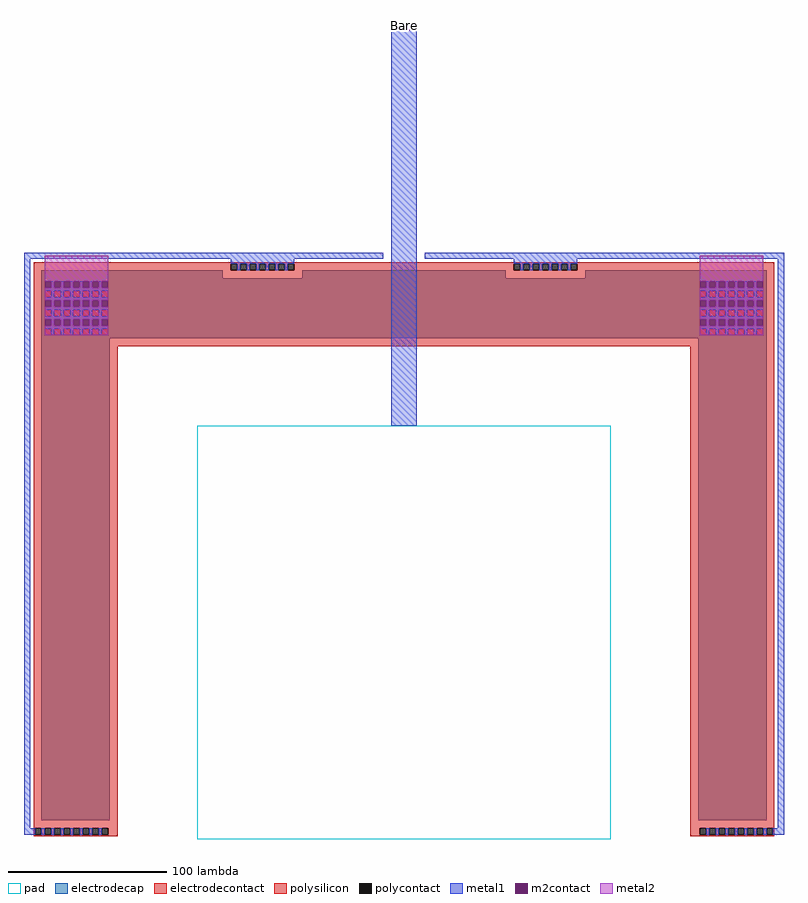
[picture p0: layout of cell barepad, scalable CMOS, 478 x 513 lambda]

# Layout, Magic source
magic
tech scmos
<< electrodecontact >>
rect 11 341 15 345
rect 17 341 21 345
rect 23 341 27 345
rect 29 341 33 345
rect 35 341 39 345
rect 41 341 45 345
rect 47 341 51 345
rect 11 329 15 333
rect 17 329 21 333
rect 23 329 27 333
rect 29 329 33 333
rect 35 329 39 333
rect 41 329 45 333
rect 47 329 51 333
rect 11 317 15 321
rect 17 317 21 321
rect 23 317 27 321
rect 29 317 33 321
rect 35 317 39 321
rect 41 317 45 321
rect 47 317 51 321
rect 423 341 427 345
rect 429 341 433 345
rect 435 341 439 345
rect 441 341 445 345
rect 447 341 451 345
rect 453 341 457 345
rect 459 341 463 345
rect 423 329 427 333
rect 429 329 433 333
rect 435 329 439 333
rect 441 329 445 333
rect 447 329 451 333
rect 453 329 457 333
rect 459 329 463 333
rect 423 317 427 321
rect 429 317 433 321
rect 435 317 439 321
rect 441 317 445 321
rect 447 317 451 321
rect 453 317 457 321
rect 459 317 463 321
<< electrodecap >>
rect 9 353 123 358
rect 173 353 301 358
rect 351 353 465 358
rect 9 315 465 353
rect 9 12 52 315
rect 422 12 465 315
<< polysilicon >>
rect 4 362 470 363
rect 4 358 128 362
rect 132 358 134 362
rect 138 358 140 362
rect 144 358 146 362
rect 150 358 152 362
rect 156 358 158 362
rect 162 358 164 362
rect 168 358 306 362
rect 310 358 312 362
rect 316 358 318 362
rect 322 358 324 362
rect 328 358 330 362
rect 334 358 336 362
rect 340 358 342 362
rect 346 358 470 362
rect 4 310 470 358
rect 4 7 57 310
rect 4 3 5 7
rect 9 3 11 7
rect 15 3 17 7
rect 21 3 23 7
rect 27 3 29 7
rect 33 3 35 7
rect 39 3 41 7
rect 45 3 47 7
rect 51 3 57 7
rect 4 2 57 3
rect 417 7 470 310
rect 417 3 423 7
rect 427 3 429 7
rect 433 3 435 7
rect 439 3 441 7
rect 445 3 447 7
rect 451 3 453 7
rect 457 3 459 7
rect 463 3 465 7
rect 469 3 470 7
rect 417 2 470 3
<< polycontact >>
rect 128 358 132 362
rect 134 358 138 362
rect 140 358 144 362
rect 146 358 150 362
rect 152 358 156 362
rect 158 358 162 362
rect 164 358 168 362
rect 306 358 310 362
rect 312 358 316 362
rect 318 358 322 362
rect 324 358 328 362
rect 330 358 334 362
rect 336 358 340 362
rect 342 358 346 362
rect 5 3 9 7
rect 11 3 15 7
rect 17 3 21 7
rect 23 3 27 7
rect 29 3 33 7
rect 35 3 39 7
rect 41 3 45 7
rect 47 3 51 7
rect 423 3 427 7
rect 429 3 433 7
rect 435 3 439 7
rect 441 3 445 7
rect 447 3 451 7
rect 453 3 457 7
rect 459 3 463 7
rect 465 3 469 7
<< metal1 >>
rect 229 509 230 513
rect 244 509 245 513
rect -2 365 224 369
rect -2 7 2 365
rect 128 362 168 365
rect 132 358 134 362
rect 138 358 140 362
rect 144 358 146 362
rect 150 358 152 362
rect 156 358 158 362
rect 162 358 164 362
rect 15 347 17 351
rect 21 347 23 351
rect 27 347 29 351
rect 33 347 35 351
rect 39 347 41 351
rect 45 347 47 351
rect 11 345 51 347
rect 15 341 17 345
rect 21 341 23 345
rect 27 341 29 345
rect 33 341 35 345
rect 39 341 41 345
rect 45 341 47 345
rect 11 339 51 341
rect 15 335 17 339
rect 21 335 23 339
rect 27 335 29 339
rect 33 335 35 339
rect 39 335 41 339
rect 45 335 47 339
rect 11 333 51 335
rect 15 329 17 333
rect 21 329 23 333
rect 27 329 29 333
rect 33 329 35 333
rect 39 329 41 333
rect 45 329 47 333
rect 11 327 51 329
rect 15 323 17 327
rect 21 323 23 327
rect 27 323 29 327
rect 33 323 35 327
rect 39 323 41 327
rect 45 323 47 327
rect 11 321 51 323
rect 15 317 17 321
rect 21 317 23 321
rect 27 317 29 321
rect 33 317 35 321
rect 39 317 41 321
rect 45 317 47 321
rect 229 260 245 509
rect 250 365 476 369
rect 306 362 346 365
rect 310 358 312 362
rect 316 358 318 362
rect 322 358 324 362
rect 328 358 330 362
rect 334 358 336 362
rect 340 358 342 362
rect 427 347 429 351
rect 433 347 435 351
rect 439 347 441 351
rect 445 347 447 351
rect 451 347 453 351
rect 457 347 459 351
rect 423 345 463 347
rect 427 341 429 345
rect 433 341 435 345
rect 439 341 441 345
rect 445 341 447 345
rect 451 341 453 345
rect 457 341 459 345
rect 423 339 463 341
rect 427 335 429 339
rect 433 335 435 339
rect 439 335 441 339
rect 445 335 447 339
rect 451 335 453 339
rect 457 335 459 339
rect 423 333 463 335
rect 427 329 429 333
rect 433 329 435 333
rect 439 329 441 333
rect 445 329 447 333
rect 451 329 453 333
rect 457 329 459 333
rect 423 327 463 329
rect 427 323 429 327
rect 433 323 435 327
rect 439 323 441 327
rect 445 323 447 327
rect 451 323 453 327
rect 457 323 459 327
rect 423 321 463 323
rect 427 317 429 321
rect 433 317 435 321
rect 439 317 441 321
rect 445 317 447 321
rect 451 317 453 321
rect 457 317 459 321
rect 472 7 476 365
rect -2 3 5 7
rect 9 3 11 7
rect 15 3 17 7
rect 21 3 23 7
rect 27 3 29 7
rect 33 3 35 7
rect 39 3 41 7
rect 45 3 47 7
rect 427 3 429 7
rect 433 3 435 7
rect 439 3 441 7
rect 445 3 447 7
rect 451 3 453 7
rect 457 3 459 7
rect 463 3 465 7
rect 469 3 476 7
<< m2contact >>
rect 230 509 244 513
rect 11 347 15 351
rect 17 347 21 351
rect 23 347 27 351
rect 29 347 33 351
rect 35 347 39 351
rect 41 347 45 351
rect 47 347 51 351
rect 11 335 15 339
rect 17 335 21 339
rect 23 335 27 339
rect 29 335 33 339
rect 35 335 39 339
rect 41 335 45 339
rect 47 335 51 339
rect 11 323 15 327
rect 17 323 21 327
rect 23 323 27 327
rect 29 323 33 327
rect 35 323 39 327
rect 41 323 45 327
rect 47 323 51 327
rect 423 347 427 351
rect 429 347 433 351
rect 435 347 439 351
rect 441 347 445 351
rect 447 347 451 351
rect 453 347 457 351
rect 459 347 463 351
rect 423 335 427 339
rect 429 335 433 339
rect 435 335 439 339
rect 441 335 445 339
rect 447 335 451 339
rect 453 335 457 339
rect 459 335 463 339
rect 423 323 427 327
rect 429 323 433 327
rect 435 323 439 327
rect 441 323 445 327
rect 447 323 451 327
rect 453 323 457 327
rect 459 323 463 327
<< metal2 >>
rect 229 509 230 513
rect 244 509 245 513
rect 11 351 51 367
rect 15 347 17 351
rect 21 347 23 351
rect 27 347 29 351
rect 33 347 35 351
rect 39 347 41 351
rect 45 347 47 351
rect 11 339 51 347
rect 15 335 17 339
rect 21 335 23 339
rect 27 335 29 339
rect 33 335 35 339
rect 39 335 41 339
rect 45 335 47 339
rect 11 327 51 335
rect 15 323 17 327
rect 21 323 23 327
rect 27 323 29 327
rect 33 323 35 327
rect 39 323 41 327
rect 45 323 47 327
rect 11 317 51 323
rect 423 351 463 367
rect 427 347 429 351
rect 433 347 435 351
rect 439 347 441 351
rect 445 347 447 351
rect 451 347 453 351
rect 457 347 459 351
rect 423 339 463 347
rect 427 335 429 339
rect 433 335 435 339
rect 439 335 441 339
rect 445 335 447 339
rect 451 335 453 339
rect 457 335 459 339
rect 423 327 463 335
rect 427 323 429 327
rect 433 323 435 327
rect 439 323 441 327
rect 445 323 447 327
rect 451 323 453 327
rect 457 323 459 327
rect 423 317 463 323
use bondingpad  bondingpad_0
transform 1 0 107 0 1 0
box 0 0 260 260
<< labels >>
rlabel m2contact 237 512 237 512 6 Bare
<< end >>

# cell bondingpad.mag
magic
tech scmos
<< pad >>
rect 0 0 260 260
<< end >>
